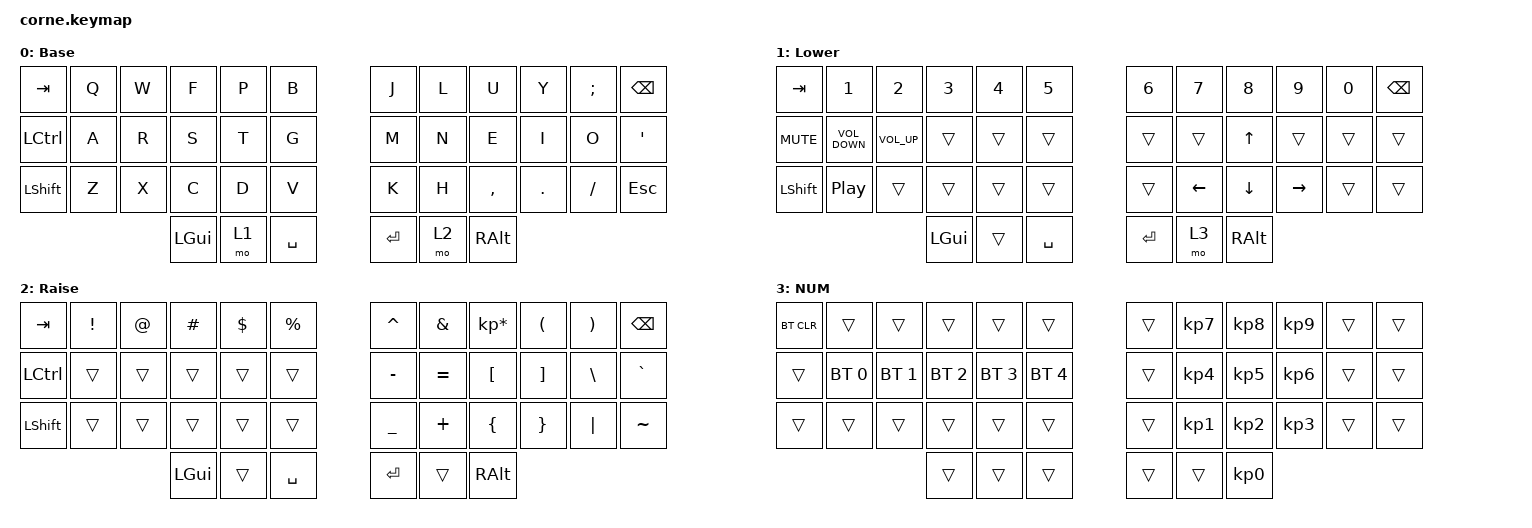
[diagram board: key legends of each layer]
/*
 * Copyright (c) 2020 The ZMK Contributors
 *
 * SPDX-License-Identifier: MIT
 */

#include <behaviors.dtsi>
#include <dt-bindings/zmk/bt.h>
#include <dt-bindings/zmk/keys.h>

/ {
    keymap {
        compatible = "zmk,keymap";

        default_layer {
            // -----------------------------------------------------------------------------------------
            // |  TAB |  Q  |  W  |  F  |  P  |  B  |   |  J  |  L   |  U  |  Y  |  ;  | BKSP |
            // | CTRL |  A  |  R  |  S  |  T  |  G  |   |  M  |  N   |  E  |  I  |  O  |  '   |
            // | SHFT |  Z  |  X  |  C  |  D  |  V  |   |  K  |  H   |  ,  |  .  |  /  | ESC  |
            //                    | GUI | LWR | SPC |   | ENT | RSE  | ALT |

            display-name = "Base";
            bindings = <
&kp TAB    &kp Q  &kp W  &kp F     &kp P  &kp B        &kp J    &kp L  &kp U      &kp Y    &kp SEMICOLON  &kp BSPC
&kp LCTRL  &kp A  &kp R  &kp S     &kp T  &kp G        &kp M    &kp N  &kp E      &kp I    &kp O          &kp SQT
&kp LSHFT  &kp Z  &kp X  &kp C     &kp D  &kp V        &kp K    &kp H  &kp COMMA  &kp DOT  &kp FSLH       &kp ESC
                         &kp LGUI  &mo 1  &kp SPACE    &kp RET  &mo 2  &kp RALT
            >;
        };

        lower_layer {
            // -----------------------------------------------------------------------------------------
            // |  TAB |  1  |  2  |  3  |  4  |  5  |   |  6  |  7  |  8  |  9  |  0  | BKSP |
            // | MUTE | VDN | VUP |     |     |     |   |     |     |  UP |     |     |      |
            // | SHFT | CPP |     |     |     |     |   |     | LFT | DWN | RGT |     |      |
            //                    | GUI |     | SPC |   | ENT | L3  | ALT |

            display-name = "Lower";
            bindings = <
&kp TAB     &kp N1             &kp N2           &kp N3    &kp N4  &kp N5       &kp N6   &kp N7    &kp N8    &kp N9     &kp N0  &kp BSPC
&kp C_MUTE  &kp C_VOLUME_DOWN  &kp C_VOLUME_UP  &trans    &trans  &trans       &trans   &trans    &kp UP    &trans     &trans  &trans
&kp LSHFT   &kp C_PLAY_PAUSE   &trans           &trans    &trans  &trans       &trans   &kp LEFT  &kp DOWN  &kp RIGHT  &trans  &trans
                                                &kp LGUI  &trans  &kp SPACE    &kp RET  &mo 3     &kp RALT
            >;
        };

        raise_layer {
            // -----------------------------------------------------------------------------------------
            // |  TAB |  !  |  @  |  #  |  $  |  %  |   |  ^  |  &  |  *  |  (  |  )  | BKSP |
            // | CTRL |     |     |     |     |     |   |  -  |  =  |  [  |  ]  |  \  |  `   |
            // | SHFT |     |     |     |     |     |   |  _  |  +  |  {  |  }  | "|" |  ~   |
            //                    | GUI |     | SPC |   | ENT |     | ALT |

            display-name = "Raise";
            bindings = <
&kp TAB    &kp EXCL  &kp AT  &kp HASH  &kp DLLR  &kp PRCNT    &kp CARET  &kp AMPS   &kp KP_MULTIPLY  &kp LPAR  &kp RPAR  &kp BSPC
&kp LCTRL  &trans    &trans  &trans    &trans    &trans       &kp MINUS  &kp EQUAL  &kp LBKT         &kp RBKT  &kp BSLH  &kp GRAVE
&kp LSHFT  &trans    &trans  &trans    &trans    &trans       &kp UNDER  &kp PLUS   &kp LBRC         &kp RBRC  &kp PIPE  &kp TILDE
                             &kp LGUI  &trans    &kp SPACE    &kp RET    &trans     &kp RALT
            >;
        };

        layer_3 {
            // -----------------------------------------------------------------------------------------
            // | CLR  |     |     |     |     |     |   |     |  7  |  8  |  9  |     |      |
            // |      | BT0 | BT1 | BT2 | BT3 | BT4 |   |     |  4  |  5  |  6  |     |      |
            // |      |     |     |     |     |     |   |     |  1  |  2  |  3  |     |      |
            //                    |     |     |     |   |     |     |  0  |

            display-name = "NUM";
            bindings = <
&bt BT_CLR  &trans        &trans        &trans        &trans        &trans          &trans  &kp KP_NUMBER_7  &kp KP_NUMBER_8  &kp KP_NUMBER_9  &trans  &trans
&trans      &bt BT_SEL 0  &bt BT_SEL 1  &bt BT_SEL 2  &bt BT_SEL 3  &bt BT_SEL 4    &trans  &kp KP_NUMBER_4  &kp KP_NUMBER_5  &kp KP_NUMBER_6  &trans  &trans
&trans      &trans        &trans        &trans        &trans        &trans          &trans  &kp KP_NUMBER_1  &kp KP_NUMBER_2  &kp KP_NUMBER_3  &trans  &trans
                                        &trans        &trans        &trans          &trans  &trans           &kp KP_NUMBER_0
            >;
        };
    };
};
